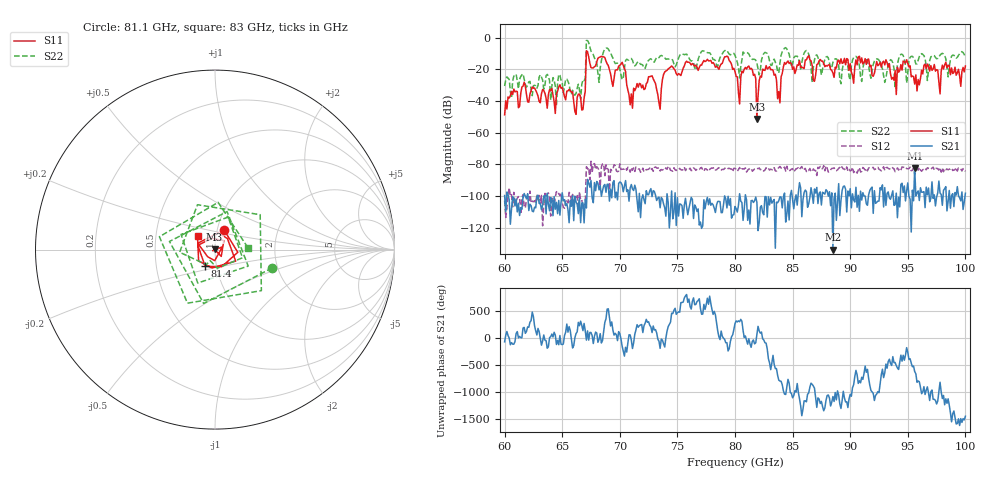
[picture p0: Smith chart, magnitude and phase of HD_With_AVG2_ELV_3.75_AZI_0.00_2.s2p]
! 11/25/2026 10:10:29 AM
! C:\ANRITSUVNA\TEMP\TEMP.S2P
! CHANNEL.1
! TR.MEASUREMENT
! RAW.DATA
# HZ S RI R 50.0
! FREQ.HZ  S11RE  S11IM  S21RE  S21IM  S12RE  S12IM  S22RE  S22IM
!; PortSelection: Port_12
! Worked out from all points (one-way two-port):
!   401 points, 60 GHz to 100 GHz, reference 50 ohm
!   highest |S21| = -82.41 dB at 95.6 GHz (marker M1); lowest = -134.0 dB at 88.5 GHz (marker M2)
!   lowest |S11| = -51.3 dB at 81.9 GHz (marker M3), VSWR 1.01, Z = 49.7 + j0.102 ohm
!   |S11| at or under -10 dB: start of sweep to 67.09 GHz; 67.23 GHz to end of sweep
!   |S22| runs from -42.8 to -1.7 dB; largest |S21 - S12| = 0.00011
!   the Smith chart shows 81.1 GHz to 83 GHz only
!   S11 on the Smith chart (normalised r, x): 81.1 GHz: 1.08, +0.24; 81.4 GHz: 0.88, -0.17; 83 GHz: 0.81, +0.12
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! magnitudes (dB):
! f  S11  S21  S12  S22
! 60 GHz  -48.7  -99.7  -102.9  -30.5
! 61.6 GHz  -30.6  -100.7  -99.3  -22.8
! 66.7 GHz  -45.7  -104.5  -102.3  -29.5
! 67.3 GHz  -12.1  -91.8  -82.0  -3.2
! 68.4 GHz  -11.8  -100.1  -81.5  -14.7
! 70.3 GHz  -17.5  -97.3  -83.1  -25.5
! 70.9 GHz  -42.4  -94.9  -85.0  -13.5
! 72.7 GHz  -24.4  -95.3  -83.8  -13.3
! 73.4 GHz  -41.1  -100.7  -82.0  -12.6
! 74.4 GHz  -18.6  -109.4  -83.7  -13.4
! 80 GHz  -21.2  -106.6  -82.5  -11.1
! 81.1 GHz  -18.4  -115.4  -83.7  -9.5
! 81.4 GHz  -19.3  -103.0  -82.4  -13.1
! 81.9 GHz  -51.3  -103.9  -82.4  -15.9
! 83 GHz  -18.3  -105.7  -83.6  -14.6
! 83.8 GHz  -34.0  -103.0  -82.1  -22.3
! 84.4 GHz  -16.7  -116.5  -84.2  -6.2
! 86.7 GHz  -17.5  -99.1  -84.2  -28.0
! 88.5 GHz  -22.3  -134.0  -82.5  -15.6
! 93.4 GHz  -16.4  -101.3  -83.0  -15.6
! 95.6 GHz  -29.3  -82.4  -86.5  -13.9
! 100 GHz  -17.9  -98.3  -84.5  -12.1
